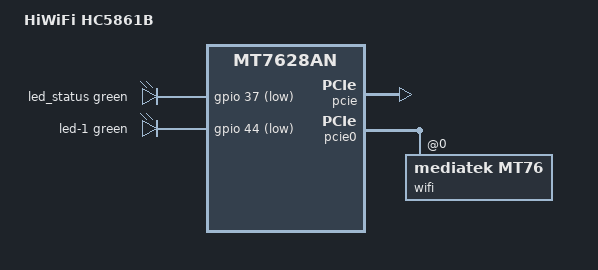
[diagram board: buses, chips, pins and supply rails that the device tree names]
#include "mt7628an_hiwifi_hc5x61a.dtsi"

/ {
	compatible = "hiwifi,hc5861b", "mediatek,mt7628an-soc";
	model = "HiWiFi HC5861B";

	aliases {
		label-mac-device = &ethernet;
		led-boot = &led_status;
		led-failsafe = &led_status;
		led-running = &led_status;
		led-upgrade = &led_status;
	};

	leds {
		compatible = "gpio-leds";

		led_status: led-0 {
			color = <LED_COLOR_ID_GREEN>;
			function = LED_FUNCTION_STATUS;
			gpios = <&gpio 37 GPIO_ACTIVE_LOW>;
		};

		led-1 {
			color = <LED_COLOR_ID_GREEN>;
			function = LED_FUNCTION_WLAN_2GHZ;
			gpios = <&gpio 44 GPIO_ACTIVE_LOW>;
			linux,default-trigger = "phy0tpt";
		};
	};
};

&esw {
	mediatek,portmap = <0x3e>;
	mediatek,portdisable = <0x20>;
};

&state_default {
	gpio {
		groups = "refclk", "wdt", "wled_an";
		function = "gpio";
	};
};

&ehci {
	status = "disabled";
};

&ohci {
	status = "disabled";
};

&usbphy {
	status = "disabled";
};

&pcie {
	status = "okay";
};

&pcie0 {
	wifi@0,0 {
		compatible = "mediatek,mt76";
		reg = <0x0000 0 0 0 0>;
		ieee80211-freq-limit = <5000000 6000000>;
		nvmem-cells = <&eeprom_factory_8000>, <&macaddr_bdinfo_18a 0>;
		nvmem-cell-names = "eeprom", "mac-address";

		led {
			led-sources = <2>;
			led-active-low;
		};
	};
};
